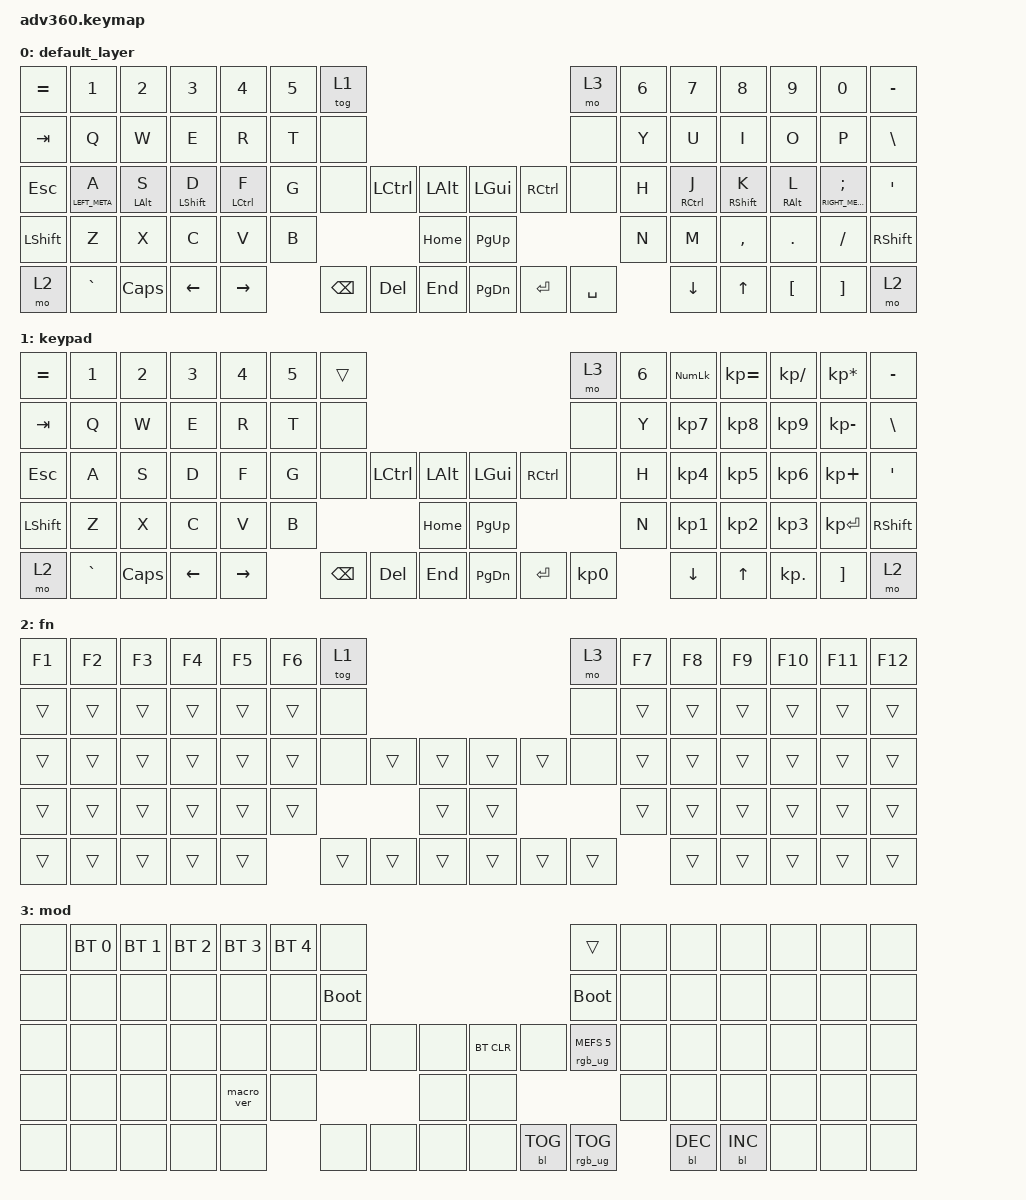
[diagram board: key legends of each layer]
#include <behaviors.dtsi>
#include <dt-bindings/zmk/backlight.h>
#include <dt-bindings/zmk/bt.h>
#include <dt-bindings/zmk/keys.h>
#include <dt-bindings/zmk/rgb.h>

/ {
    behaviors {
        #include "macros.dtsi"
        #include "version.dtsi"
        #ifndef VERSION_MACRO

        macro_ver: macro_ver {
            compatible = "zmk,behavior-macro";
            label = "macro_version";
            #binding-cells = <0>;
            bindings = <&kp RET>;
        };

        #endif

        lh_pht: left_positional_hold_tap {
            compatible = "zmk,behavior-hold-tap";
            #binding-cells = <2>;
            flavor = "tap-unless-interrupted";
            tapping-term-ms = <200>;                        // <---[[produces tap if held longer than tapping-term-ms]]
            quick-tap-ms = <200>;
            bindings = <&kp>, <&kp>;
            hold-trigger-on-release;
            hold-trigger-key-positions = <
                      7  8  9  10 11 12 13
                      21 22 23 24 25 26 27
                37 38 39 40 41 42 43 44 45
                53       54 55 56 57 58 59
                68 69 70    71 72 73 74 75
            >;
        };

        rh_pht: right_positional_hold_tap {
            compatible = "zmk,behavior-hold-tap";
            #binding-cells = <2>;
            flavor = "tap-unless-interrupted";
            tapping-term-ms = <200>;                        // <---[[produces tap if held longer than tapping-term-ms]]
            quick-tap-ms = <200>;
            bindings = <&kp>, <&kp>;
            hold-trigger-on-release;
            hold-trigger-key-positions = <
                0  1  2  3  4  5  6
                14 15 16 17 18 19 20
                28 29 30 31 32 33 34 35 36
                46 47 48 49 50 51       52
                60 61 62 63 64    65 66 67
            >;
        };

        hml: hml {
            compatible = "zmk,behavior-hold-tap";
            label = "HML";
            bindings = <&kp>, <&kp>;

            #binding-cells = <2>;
            tapping-term-ms = <250>;
            quick-tap-ms = <150>;
            flavor = "balanced";
            hold-trigger-key-positions = <
                      7  8  9  10 11 12 13
                      21 22 23 24 25 26 27
                37 38 39 40 41 42 43 44 45
                53       54 55 56 57 58 59
                68 69 70    71 72 73 74 75
            >;
            hold-trigger-on-release;
        };

        hmr: hmr {
            compatible = "zmk,behavior-hold-tap";
            label = "HMR";
            bindings = <&kp>, <&kp>;

            #binding-cells = <2>;
            tapping-term-ms = <250>;
            quick-tap-ms = <150>;
            flavor = "balanced";
            hold-trigger-key-positions = <
                0  1  2  3  4  5  6
                14 15 16 17 18 19 20
                28 29 30 31 32 33 34 35 36
                46 47 48 49 50 51       52
                60 61 62 63 64    65 66 67
            >;
            hold-trigger-on-release;
        };
    };

    keymap {
        compatible = "zmk,keymap";

        default_layer {
            bindings = <
            //  0          1                 2                3                  4             5       6                                                        7          8       9               10                  11                12                         13
                &kp EQUAL  &kp N1            &kp N2           &kp N3             &kp N4        &kp N5  &tog 1                                                   &mo 3      &kp N6  &kp N7          &kp N8              &kp N9            &kp N0                     &kp MINUS
            //  14         15                16               17                 18            19      20                                                       21         22      23              24                  25                26                         27
                &kp TAB    &kp Q             &kp W            &kp E              &kp R         &kp T   &none                                                    &none      &kp Y   &kp U           &kp I               &kp O             &kp P                      &kp BSLH
            //  28         29                30               31                 32            33      34        35         36            37         38         39         40      41              42                  43                44                         45
                &kp ESC    &lh_pht LEFT_META A  &lh_pht LEFT_ALT S  &lh_pht LEFT_SHIFT D  &lh_pht LCTRL F  &kp G   &none     &kp LCTRL  &kp LALT      &kp LGUI   &kp RCTRL  &none      &kp H   &rh_pht RCTRL J    &rh_pht RIGHT_SHIFT K  &rh_pht RIGHT_ALT L  &rh_pht RIGHT_META SEMICOLON  &kp SQT
            //  46         47                48               49                 50            51                           52            53                               54      55              56                  57                58                         59
                &kp LSHFT  &kp Z             &kp X            &kp C              &kp V         &kp B                        &kp HOME      &kp PG_UP                        &kp N   &kp M           &kp COMMA           &kp DOT           &kp FSLH                   &kp RSHFT
            //  60         61                62               63                 64                    65        66         67            68         69         70                 71              72                  73                74                         75
                &mo 2      &kp GRAVE         &kp CAPS         &kp LEFT           &kp RIGHT             &kp BSPC  &kp DEL    &kp END       &kp PG_DN  &kp ENTER  &kp SPACE          &kp DOWN_ARROW  &kp UP_ARROW        &kp LBKT          &kp RBKT                   &mo 2
            >;
        };

        keypad {
            bindings = <
                &kp EQUAL  &kp N1     &kp N2    &kp N3    &kp N4     &kp N5  &trans                                                   &mo 3      &kp N6  &kp KP_NUM  &kp KP_EQUAL  &kp KP_DIVIDE  &kp KP_MULTIPLY  &kp MINUS
                &kp TAB    &kp Q      &kp W     &kp E     &kp R      &kp T   &none                                                    &none      &kp Y   &kp KP_N7   &kp KP_N8     &kp KP_N9      &kp KP_MINUS     &kp BSLH
                &kp ESC    &kp A      &kp S     &kp D     &kp F      &kp G   &none     &kp LCTRL  &kp LALT      &kp LGUI   &kp RCTRL  &none      &kp H   &kp KP_N4   &kp KP_N5     &kp KP_N6      &kp KP_PLUS      &kp SQT
                &kp LSHFT  &kp Z      &kp X     &kp C     &kp V      &kp B                        &kp HOME      &kp PG_UP                        &kp N   &kp KP_N1   &kp KP_N2     &kp KP_N3      &kp KP_ENTER     &kp RSHFT
                &mo 2      &kp GRAVE  &kp CAPS  &kp LEFT  &kp RIGHT          &kp BSPC  &kp DEL    &kp END       &kp PG_DN  &kp ENTER  &kp KP_N0          &kp DOWN    &kp UP_ARROW  &kp KP_DOT     &kp RBKT         &mo 2
            >;
        };

        fn {
            bindings = <
                &kp F1  &kp F2  &kp F3  &kp F4  &kp F5  &kp F6  &tog 1                                      &mo 3   &kp F7  &kp F8  &kp F9  &kp F10  &kp F11  &kp F12
                &trans  &trans  &trans  &trans  &trans  &trans  &none                                       &none   &trans  &trans  &trans  &trans   &trans   &trans
                &trans  &trans  &trans  &trans  &trans  &trans  &none   &trans  &trans      &trans  &trans  &none   &trans  &trans  &trans  &trans   &trans   &trans
                &trans  &trans  &trans  &trans  &trans  &trans                  &trans      &trans                  &trans  &trans  &trans  &trans   &trans   &trans
                &trans  &trans  &trans  &trans  &trans          &trans  &trans  &trans      &trans  &trans  &trans          &trans  &trans  &trans   &trans   &trans
            >;
        };

        mod {
            bindings = <
                &none  &bt BT_SEL 0  &bt BT_SEL 1  &bt BT_SEL 2  &bt BT_SEL 3  &bt BT_SEL 4  &none                                                  &trans                  &none  &none       &none       &none  &none  &none
                &none  &none         &none         &none         &none         &none         &bootloader                                            &bootloader             &none  &none       &none       &none  &none  &none
                &none  &none         &none         &none         &none         &none         &none        &none  &none      &bt BT_CLR  &none       &rgb_ug RGB_MEFS_CMD 5  &none  &none       &none       &none  &none  &none
                &none  &none         &none         &none         &macro_ver    &none                             &none      &none                                           &none  &none       &none       &none  &none  &none
                &none  &none         &none         &none         &none                       &none        &none  &none      &none       &bl BL_TOG  &rgb_ug RGB_TOG                &bl BL_DEC  &bl BL_INC  &none  &none  &none
            >;
        };
    };
};
